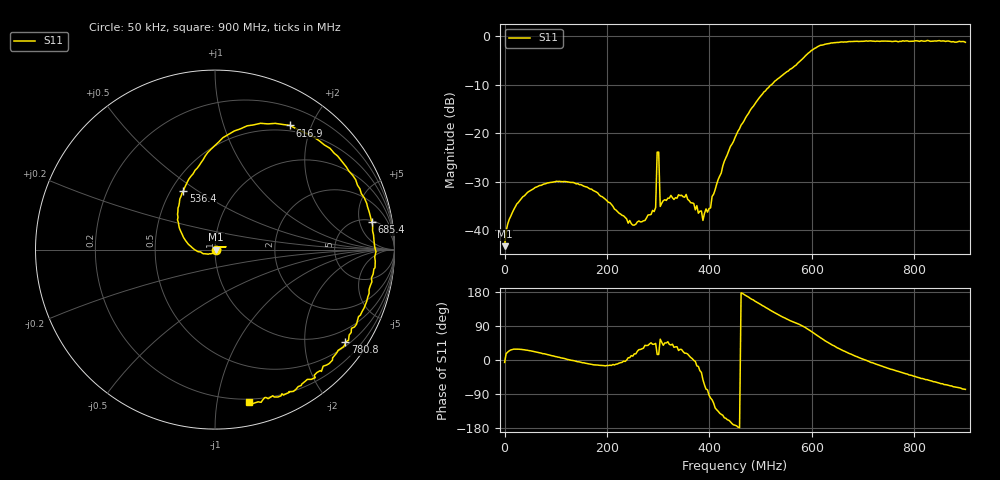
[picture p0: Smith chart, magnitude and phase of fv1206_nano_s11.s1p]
# Hz S RI R 50
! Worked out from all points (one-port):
!   303 points, 50 kHz to 900 MHz, reference 50 ohm
!   lowest |S11| = -43.3 dB at 50 kHz (marker M1), VSWR 1.01, Z = 50.7 - j0.0772 ohm
!   |S11| at or under -10 dB: start of sweep to 521.4 MHz
!   S11 on the Smith chart (normalised r, x): 50 kHz: 1.01, -0.00; 536.4 MHz: 0.58, +0.44; 616.9 MHz: 0.42, +1.69; 685.4 MHz: 5.39, +7.80; 780.8 MHz: 0.61, -3.03; 900 MHz: 0.18, -1.23
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50000  0.00677 -0.000761
8988800  0.0117 0.00526
3.58055e7  0.0196 0.0102
1.132759e8  0.0314 0.00273
1.698889e8  0.0259 -0.00527
2.265019e8  0.0145 -0.00179
2.533186e8  0.0108 0.00313
2.920538e8  0.0116 0.0103
2.950334e8  0.0123 0.0118
2.980131e8  0.0616 0.0161
3.009933e8  0.0616 0.0161
3.039734e8  0.0101 0.0143
3.39735e8  0.0209 0.0098
3.754965e8  0.0172 -0.00481
3.87417e8  0.00771 -0.00991
4.023177e8  -0.00306 -0.0166
4.529799e8  -0.0964 -0.0107
5.364236e8  -0.1756 0.329
5.632448e8  -0.0881 0.4683
5.870858e8  0.0441 0.6234
6.168873e8  0.4179 0.692
6.496687e8  0.7315 0.4607
6.764899e8  0.8501 0.2377
6.854303e8  0.8743 0.1535
7.807945e8  0.7269 -0.5154
7.897349e8  0.6858 -0.5617
8.493375e8  0.436 -0.7903
8.999998e8  0.188 -0.8469
